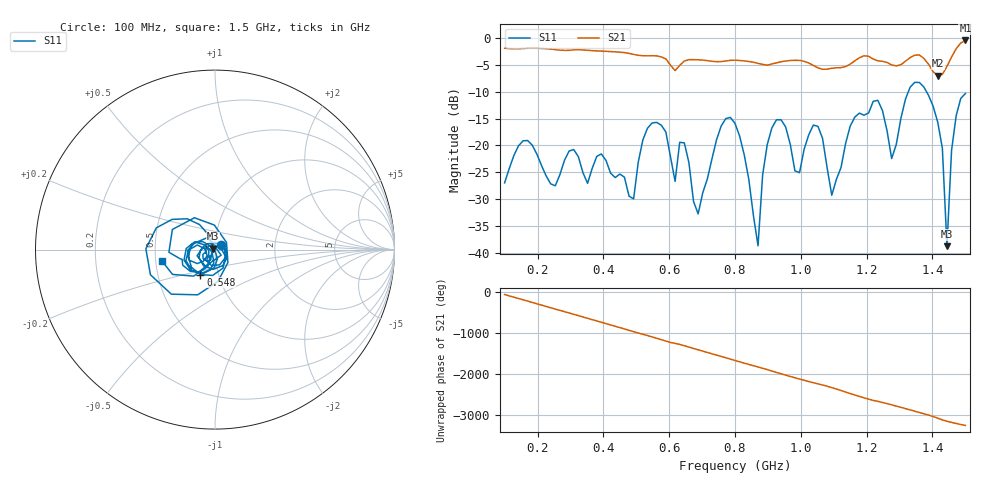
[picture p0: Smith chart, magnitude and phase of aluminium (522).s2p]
! NanoVNA-App
! Date: 2025-09-25 14:59:20
! Start: 100MHz Stop: 1,5GHz Points: 101
! S-Parameter data: F S11 S21 S12 S22
# Hz S RI R 50
!  Frequency  S11_Real  S11_Imag  S21_Real  S21_Imag  S12_Real  S12_Imag  S22_Real  S22_Imag
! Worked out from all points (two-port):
!   101 points, 100 MHz to 1.5 GHz, reference 50 ohm
!   highest |S21| = -0.47 dB at 1.5 GHz (marker M1); lowest = -7.0 dB at 1.416 GHz (marker M2)
!   |S21| within 3 dB of the highest: start of sweep to 571.6 MHz; 1.459 GHz to end of sweep (the widest 2 of 4)
!   lowest |S11| = -38.7 dB at 1.444 GHz (marker M3), VSWR 1.02, Z = 49 + j0.522 ohm
!   |S11| at or under -10 dB: start of sweep to 1.327 GHz; 1.382 GHz to end of sweep
!   S12 and S22 are empty: the file has one direction only
!   S11 on the Smith chart (normalised r, x): 100 MHz: 1.07, +0.06; 548 MHz: 0.82, -0.23; 1.5 GHz: 0.54, -0.07
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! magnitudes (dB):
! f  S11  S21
! 100 MHz  -27.0  -1.9
! 156 MHz  -19.1  -2.0
! 338 MHz  -25.1  -2.2
! 492 MHz  -29.9  -3.1
! 548 MHz  -15.8  -3.3
! 576 MHz  -16.2  -3.5
! 618 MHz  -26.7  -6.1
! 646 MHz  -19.5  -4.3
! 688 MHz  -32.7  -4.1
! 800 MHz  -15.9  -4.1
! 870 MHz  -38.7  -4.7
! 912 MHz  -16.7  -4.8
! 996 MHz  -25.1  -4.2
! 1.038 GHz  -16.2  -5.1
! 1.094 GHz  -29.3  -5.7
! 1.22 GHz  -11.8  -3.9
! 1.276 GHz  -22.4  -5.0
! 1.346 GHz  -8.3  -3.2
! 1.416 GHz  -15.7  -7.0
! 1.444 GHz  -38.7  -5.3
! 1.458 GHz  -20.9  -3.5
! 1.5 GHz  -10.4  -0.5
